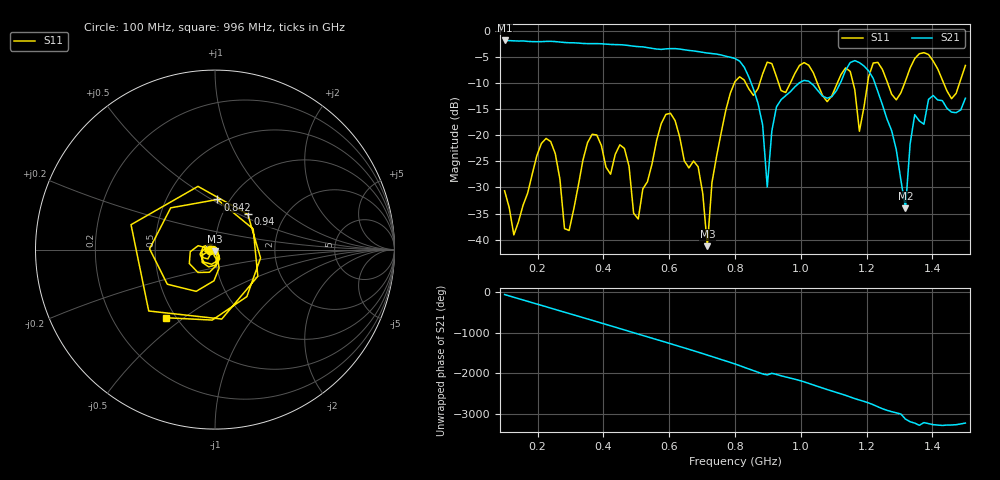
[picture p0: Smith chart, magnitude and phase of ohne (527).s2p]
! NanoVNA-App
! Date: 2025-09-25 14:24:54
! Start: 100MHz Stop: 1,5GHz Points: 101
! S-Parameter data: F S11 S21 S12 S22
# Hz S RI R 50
!  Frequency  S11_Real  S11_Imag  S21_Real  S21_Imag  S12_Real  S12_Imag  S22_Real  S22_Imag
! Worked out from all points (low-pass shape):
!   101 points, 100 MHz to 1.5 GHz, reference 50 ohm
!   highest |S21| = -1.79 dB at 100 MHz (marker M1); lowest = -34.0 dB at 1.318 GHz (marker M2)
!   |S21| within 3 dB of the highest: start of sweep to 770.6 MHz
!   lowest |S11| = -41.3 dB at 716 MHz (marker M3), VSWR 1.02, Z = 49.8 - j0.848 ohm
!   |S11| at or under -10 dB: start of sweep to 797.9 MHz; 833.1 MHz to 875.1 MHz (42.02 MHz wide, 4.92 % of centre); 1.05 GHz to 1.111 GHz (60.22 MHz wide, 5.57 % of centre) (the widest 3 of 7)
!   S12 and S22 are empty: the file has one direction only
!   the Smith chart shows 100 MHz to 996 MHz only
!   S11 on the Smith chart (normalised r, x): 100 MHz: 0.94, -0.01; 842 MHz: 0.88, +0.53; 940 MHz: 1.31, +0.56; 996 MHz: 0.44, -0.43
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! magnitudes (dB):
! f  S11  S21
! 100 MHz  -30.6  -1.8
! 128 MHz  -39.1  -1.9
! 226 MHz  -20.6  -2.0
! 296 MHz  -38.3  -2.2
! 338 MHz  -24.7  -2.4
! 464 MHz  -22.5  -2.7
! 506 MHz  -36.1  -3.0
! 576 MHz  -17.7  -3.5
! 688 MHz  -26.0  -3.9
! 716 MHz  -41.3  -4.2
! 800 MHz  -9.7  -5.3
! 842 MHz  -11.1  -8.8
! 898 MHz  -6.0  -29.9
! 940 MHz  -11.4  -13.2
! 996 MHz  -6.6  -9.9
! 1.038 GHz  -8.0  -10.4
! 1.178 GHz  -19.2  -6.0
! 1.22 GHz  -6.1  -9.1
! 1.276 GHz  -12.1  -19.1
! 1.318 GHz  -9.6  -34.0
! 1.346 GHz  -5.3  -16.0
! 1.5 GHz  -6.6  -12.9
